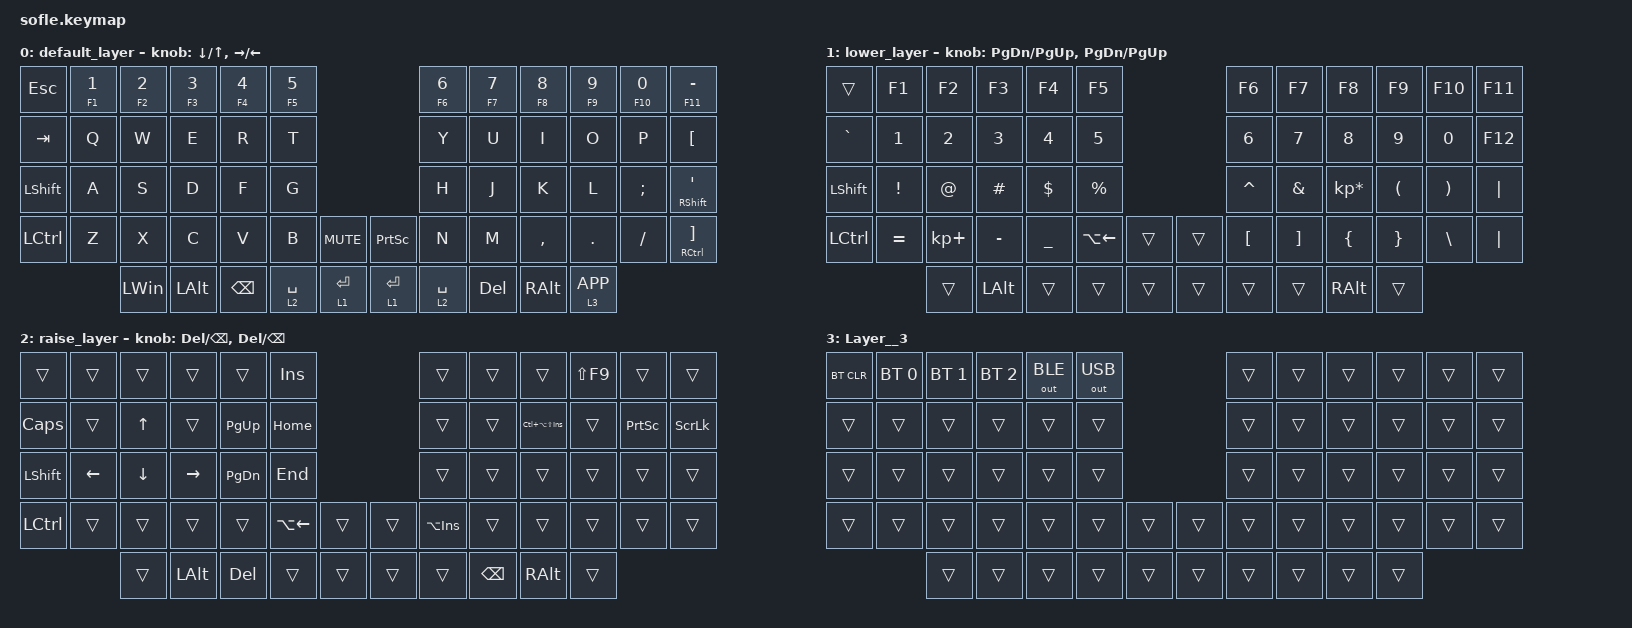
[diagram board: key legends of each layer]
/*
 * Copyright (c) 2020 The ZMK Contributors
 *
 * SPDX-License-Identifier: MIT
 */

#include <behaviors.dtsi>
#include <dt-bindings/zmk/bt.h>
#include <dt-bindings/zmk/keys.h>
#include <dt-bindings/zmk/outputs.h>

&lt {
    flavor = "hold-preferred";
    quick-tap-ms = <200>;
};

/ {
    combos {
        compatible = "zmk,combos";

        f11 {
            bindings = <&kp EQUAL>;
            key-positions = <11 22>;
            layers = <0>;
        };

        esc-grave {
            bindings = <&kp GRAVE>;
            key-positions = <0 12>;
            layers = <0>;
        };

        esc-grave-2 {
            bindings = <&kp GRAVE>;
            key-positions = <0 13>;
            layers = <0>;
        };

        w1 {
            bindings = <&none>;
            key-positions = <1 14>;
        };

        e2 {
            bindings = <&none>;
            key-positions = <2 15>;
        };

        r3 {
            bindings = <&none>;
            key-positions = <3 16>;
        };

        t4 {
            bindings = <&none>;
            key-positions = <4 17>;
        };

        t5 {
            bindings = <&none>;
            key-positions = <17 5>;
        };

        y6 {
            bindings = <&none>;
            key-positions = <6 18>;
        };

        y7 {
            bindings = <&none>;
            key-positions = <18 7>;
        };

        u8 {
            bindings = <&none>;
            key-positions = <8 19>;
        };

        i9 {
            bindings = <&none>;
            key-positions = <9 20>;
        };

        o0 {
            bindings = <&none>;
            key-positions = <10 21>;
        };

        p- {
            bindings = <&none>;
            key-positions = <11 22>;
        };
    };

    keymap {
        compatible = "zmk,keymap";

        default_layer {
            // ------------------------------------------------------------------------------------------------------------
            // |  `    |  1  |  2  |  3   |  4   |  5   |                   |  6   |  7    |  8    |  9   |   0   |       |
            // |  ESC  |  Q  |  W  |  E   |  R   |  T   |                   |  Y   |  U    |  I    |  O   |   P   | BKSPC |
            // |  TAB  |  A  |  S  |  D   |  F   |  G   |                   |  H   |  J    |  K    |  L   |   ;   |   '   |
            // | SHIFT |  Z  |  X  |  C   |  V   |  B   |  MUTE  |  |       |  N   |  M    |  ,    |  .   |   /   | SHIFT |
            //               | GUI | ALT  | CTRL | LOWER|  ENTER |  | SPACE | RAISE| CTRL  | ALT   | GUI  |

            bindings = <
&kp ESC    &mt F1 N1  &mt F2 N2     &mt F3 N3     &mt F4 N4      &mt F5 N5                                  &mt F6 N6    &mt F7 N7   &mt F8 N8      &mt F9 N9    &mt F10 N0  &mt F11 MINUS
&kp TAB    &kp Q      &kp W         &kp E         &kp R          &kp T                                      &kp Y        &kp U       &kp I          &kp O        &kp P       &kp LBKT
&kp LSHFT  &kp A      &kp S         &kp D         &kp F          &kp G                                      &kp H        &kp J       &kp K          &kp L        &kp SEMI    &mt RSHFT SQT
&kp LCTRL  &kp Z      &kp X         &kp C         &kp V          &kp B        &kp C_MUTE   &kp PRINTSCREEN  &kp N        &kp M       &kp COMMA      &kp DOT      &kp FSLH    &mt RCTRL RBKT
                      &kp LEFT_WIN  &kp LEFT_ALT  &kp BACKSPACE  &lt 2 SPACE  &lt 1 ENTER  &lt 1 ENTER      &lt 2 SPACE  &kp DELETE  &kp RIGHT_ALT  &lt 3 K_APP
            >;

            sensor-bindings =
                <&inc_dec_kp DOWN_ARROW UP_ARROW>,
                <&inc_dec_kp RIGHT_ARROW LEFT_ARROW>;
        };

        lower_layer {
            // TODO: Some binds are waiting for shifted keycode support.
            // ------------------------------------------------------------------------------------------------------------
            // |       |  F1 |  F2 |  F3  |  F4  |  F5  |                   |  F6  |  F7   |  F8   |  F9  |  F10  |  F11  |
            // | `     |   1 |   2 |   3  |   4  |   5  |                   |   6  |   7   |   8   |   9  |    0  |  F12  |
            // |       |  !  |  @  |  #   |  $   |  %   |                   |  ^   |  &    |  *    |  (   |   )   |   |   |
            // |       |  =  |  -  |  +   |  {   |  }   |        |  |       |  [   |  ]    |  ;    |  :   |   \   |       |
            //               |     |      |      |      |        |  |       |      |       |       |      |

            bindings = <
&trans          &kp F1     &kp F2       &kp F3        &kp F4     &kp F5                        &kp F6     &kp F7    &kp F8           &kp F9           &kp F10   &kp F11
&kp GRAVE       &kp N1     &kp N2       &kp N3        &kp N4     &kp N5                        &kp N6     &kp N7    &kp N8           &kp NUMBER_9     &kp N0    &kp F12
&kp LEFT_SHIFT  &kp EXCL   &kp AT       &kp HASH      &kp DLLR   &kp PRCNT                     &kp CARET  &kp AMPS  &kp KP_MULTIPLY  &kp LPAR         &kp RPAR  &kp PIPE
&kp LCTRL       &kp EQUAL  &kp KP_PLUS  &kp MINUS     &kp UNDER  &kp LA(LEFT)  &trans  &trans  &kp LBKT   &kp RBKT  &kp LEFT_BRACE   &kp RIGHT_BRACE  &kp BSLH  &kp PIPE
                           &trans       &kp LEFT_ALT  &trans     &trans        &trans  &trans  &trans     &trans    &kp RIGHT_ALT    &trans
            >;

            sensor-bindings =
                <&inc_dec_kp PAGE_DOWN PAGE_UP>,
                <&inc_dec_kp PAGE_DOWN PAGE_UP>;
        };

        raise_layer {
            // ------------------------------------------------------------------------------------------------------------
            // |BTCLR| BT1  | BT2  |  BT3  |  BT4  |  BT5 |                |      |      |       |      |       |       |
            // |     | INS  | PSCR | GUI   |       |      |                | PGUP |      |       |      |       |       |
            // |     | ALT  | CTRL | SHIFT |       | CAPS |                |  <-  |   ^  |   v   |  ->  |  DEL  | BKSPC |
            // |     | UNDO | CUT  | COPY  | PASTE |      |      |  |      |      |      |       |      |       |       |
            //              |      |       |       |      |      |  |      |      |      |       |      |

            bindings = <
&trans          &trans    &trans    &trans        &trans         &kp INS                       &trans       &trans         &trans               &kp LS(F9)  &trans           &trans
&kp CAPS        &trans    &kp UP    &trans        &kp PG_UP      &kp HOME                      &trans       &trans         &kp LC(LA(LS(INS)))  &trans      &kp PRINTSCREEN  &kp SCROLLLOCK
&kp LEFT_SHIFT  &kp LEFT  &kp DOWN  &kp RIGHT     &kp PAGE_DOWN  &kp END                       &trans       &trans         &trans               &trans      &trans           &trans
&kp LCTRL       &trans    &trans    &trans        &trans         &kp LA(LEFT)  &trans  &trans  &kp LA(INS)  &trans         &trans               &trans      &trans           &trans
                          &trans    &kp LEFT_ALT  &kp DEL        &trans        &trans  &trans  &trans       &kp BACKSPACE  &kp RIGHT_ALT        &trans
            >;

            sensor-bindings =
                <&inc_dec_kp DEL BACKSPACE>,
                <&inc_dec_kp DELETE BACKSPACE>;
        };

        Layer__3 {
            bindings = <
&bt BT_CLR  &bt BT_SEL 0  &bt BT_SEL 1  &bt BT_SEL 2  &out OUT_BLE  &out OUT_USB                  &trans  &trans  &trans  &trans  &trans  &trans
&trans      &trans        &trans        &trans        &trans        &trans                        &trans  &trans  &trans  &trans  &trans  &trans
&trans      &trans        &trans        &trans        &trans        &trans                        &trans  &trans  &trans  &trans  &trans  &trans
&trans      &trans        &trans        &trans        &trans        &trans        &trans  &trans  &trans  &trans  &trans  &trans  &trans  &trans
                          &trans        &trans        &trans        &trans        &trans  &trans  &trans  &trans  &trans  &trans
            >;
        };
    };
};
